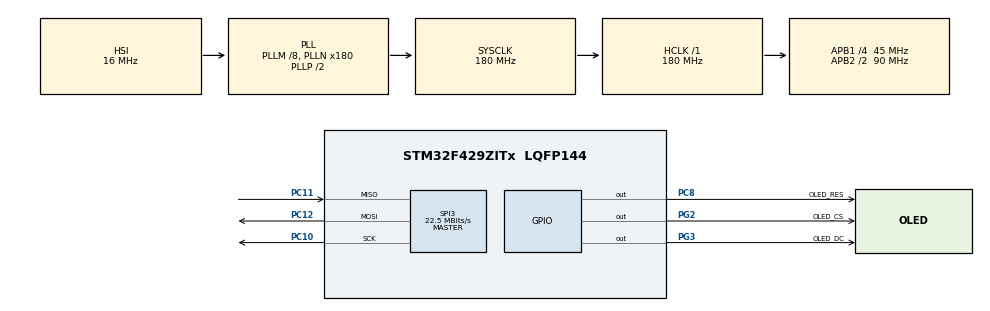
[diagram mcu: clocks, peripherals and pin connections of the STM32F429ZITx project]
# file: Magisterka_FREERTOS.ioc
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FREERTOS.Tasks01=defaultTask,0,128,StartDefaultTask,Default,NULL
Mcu.Family=STM32F4
Mcu.Name=STM32F429ZITx
Mcu.Package=LQFP144
NVIC.PriorityGroup=NVIC_PRIORITYGROUP_4
NVIC.TIM1_UP_TIM10_IRQn=true\:0\:0\:false\:false\:true\:false\:false\:true
NVIC.TimeBase=TIM1_UP_TIM10_IRQn
NVIC.TimeBaseIP=TIM1
PA13.Mode=JTAG_5_pins
PA13.Signal=SYS_JTMS-SWDIO
PA14.Mode=JTAG_5_pins
PA14.Signal=SYS_JTCK-SWCLK
PA15.Mode=JTAG_5_pins
PA15.Signal=SYS_JTDI
PB3.Mode=JTAG_5_pins
PB3.Signal=SYS_JTDO-SWO
PB4.Mode=JTAG_5_pins
PB4.Signal=SYS_JTRST
PC10.Mode=Full_Duplex_Master
PC10.Signal=SPI3_SCK
PC11.Mode=Full_Duplex_Master
PC11.Signal=SPI3_MISO
PC12.Mode=Full_Duplex_Master
PC12.Signal=SPI3_MOSI
PC8.GPIO_Label=OLED_RES
PC8.Signal=GPIO_Output
PG2.GPIO_Label=OLED_CS
PG2.Signal=GPIO_Output
PG3.GPIO_Label=OLED_DC
PG3.Signal=GPIO_Output
ProjectManager.HeapSize=0x200
ProjectManager.StackSize=0x400
ProjectManager.TargetToolchain=TrueSTUDIO
RCC.48MHZClocksFreq_Value=90000000
RCC.AHBFreq_Value=180000000
RCC.APB1CLKDivider=RCC_HCLK_DIV4
RCC.APB1Freq_Value=45000000
RCC.APB1TimFreq_Value=90000000
RCC.APB2CLKDivider=RCC_HCLK_DIV2
RCC.APB2Freq_Value=90000000
RCC.APB2TimFreq_Value=180000000
RCC.CortexFreq_Value=180000000
RCC.HCLKFreq_Value=180000000
RCC.HSE_VALUE=25000000
RCC.HSI_VALUE=16000000
RCC.LSE_VALUE=32768
RCC.PLLM=8
RCC.PLLN=180
RCC.SYSCLKFreq_VALUE=180000000
RCC.SYSCLKSource=RCC_SYSCLKSOURCE_PLLCLK
RCC.VCOOutputFreq_Value=360000000
SPI3.CalculateBaudRate=22.5 MBits/s
SPI3.Direction=SPI_DIRECTION_2LINES
SPI3.Mode=SPI_MODE_MASTER
SPI3.VirtualType=VM_MASTER
VP_FREERTOS_VS_CMSIS_V1.Mode=CMSIS_V1
VP_SYS_VS_tim1.Mode=TIM1
board=custom

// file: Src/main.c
/* USER CODE BEGIN Header */
/**
 ******************************************************************************
 * @file           : main.c
 * @brief          : Main program body
 ******************************************************************************
 * @attention
 *
 * <h2><center>&copy; Copyright (c) 2019 STMicroelectronics.
 * All rights reserved.</center></h2>
 *
 * This software component is licensed by ST under Ultimate Liberty license
 * SLA0044, the "License"; You may not use this file except in compliance with
 * the License. You may obtain a copy of the License at:
 *                             www.st.com/SLA0044
 *
 ******************************************************************************
 */
/* USER CODE END Header */

#include "main.h"
#include "cmsis_os.h"
#include "spi.h"
#include "gpio.h"

void SystemClock_Config(void);
void MX_FREERTOS_Init(void);

int main(void) {

	/* MCU Configuration--------------------------------------------------------*/

	/* Reset of all peripherals, Initializes the Flash interface and the Systick. */
	HAL_Init();

	/* Configure the system clock */
	SystemClock_Config();

	/* Initialize all configured peripherals */
	MX_GPIO_Init();
	MX_SPI3_Init();
	/* USER CODE BEGIN 2 */
	ssd1306_init();
	ssd1306_clear_screen(0xFF);
	ssd1306_clear_screen(0x00);
	ssd1306_display_string(0, 0, (uint8_t *) "System Init OK", 16, 0);
	ssd1306_refresh_gram();
	HAL_Delay(2000);
	ssd1306_clear_screen(0x00);
	ssd1306_display_string(0, 0, (uint8_t *) "Praca Magisterska", 14, 1);
	ssd1306_display_string(10, 16, (uint8_t *) "Kamil Karpiak", 16, 1);
	ssd1306_refresh_gram();
	printf("start\n");
	/* USER CODE END 2 */

	/* Call init function for freertos objects (in freertos.c) */
	MX_FREERTOS_Init();
	/* Start scheduler */
	osKernelStart();

	/* We should never get here as control is now taken by the scheduler */

	/* Infinite loop */
	while (1) {

	}
}

void SystemClock_Config(void) {
	RCC_OscInitTypeDef RCC_OscInitStruct = { 0 };
	RCC_ClkInitTypeDef RCC_ClkInitStruct = { 0 };

	/** Configure the main internal regulator output voltage
	 */
	__HAL_RCC_PWR_CLK_ENABLE()
	;
	__HAL_PWR_VOLTAGESCALING_CONFIG(PWR_REGULATOR_VOLTAGE_SCALE1);
	/** Initializes the CPU, AHB and APB busses clocks
	 */
	RCC_OscInitStruct.OscillatorType = RCC_OSCILLATORTYPE_HSI;
	RCC_OscInitStruct.HSIState = RCC_HSI_ON;
	RCC_OscInitStruct.HSICalibrationValue = RCC_HSICALIBRATION_DEFAULT;
	RCC_OscInitStruct.PLL.PLLState = RCC_PLL_ON;
	RCC_OscInitStruct.PLL.PLLSource = RCC_PLLSOURCE_HSI;
	RCC_OscInitStruct.PLL.PLLM = 8;
	RCC_OscInitStruct.PLL.PLLN = 180;
	RCC_OscInitStruct.PLL.PLLP = RCC_PLLP_DIV2;
	RCC_OscInitStruct.PLL.PLLQ = 4;
	if (HAL_RCC_OscConfig(&RCC_OscInitStruct) != HAL_OK) {
		Error_Handler();
	}
	/** Activate the Over-Drive mode
	 */
	if (HAL_PWREx_EnableOverDrive() != HAL_OK) {
		Error_Handler();
	}
	/** Initializes the CPU, AHB and APB busses clocks
	 */
	RCC_ClkInitStruct.ClockType = RCC_CLOCKTYPE_HCLK | RCC_CLOCKTYPE_SYSCLK
			| RCC_CLOCKTYPE_PCLK1 | RCC_CLOCKTYPE_PCLK2;
	RCC_ClkInitStruct.SYSCLKSource = RCC_SYSCLKSOURCE_PLLCLK;
	RCC_ClkInitStruct.AHBCLKDivider = RCC_SYSCLK_DIV1;
	RCC_ClkInitStruct.APB1CLKDivider = RCC_HCLK_DIV4;
	RCC_ClkInitStruct.APB2CLKDivider = RCC_HCLK_DIV2;

	if (HAL_RCC_ClockConfig(&RCC_ClkInitStruct, FLASH_LATENCY_5) != HAL_OK) {
		Error_Handler();
	}
}

void HAL_TIM_PeriodElapsedCallback(TIM_HandleTypeDef *htim) {
	if (htim->Instance == TIM1) {
		HAL_IncTick();
	}
}

void Error_Handler(void) {
}

/************************ (C) COPYRIGHT STMicroelectronics *****END OF FILE****/

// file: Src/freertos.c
/* USER CODE BEGIN Header */
/**
 ******************************************************************************
 * File Name          : freertos.c
 * Description        : Code for freertos applications
 ******************************************************************************
 * @attention
 *
 * <h2><center>&copy; Copyright (c) 2019 STMicroelectronics.
 * All rights reserved.</center></h2>
 *
 * This software component is licensed by ST under Ultimate Liberty license
 * SLA0044, the "License"; You may not use this file except in compliance with
 * the License. You may obtain a copy of the License at:
 *                             www.st.com/SLA0044
 *
 ******************************************************************************
 */
/* USER CODE END Header */

#include "FreeRTOS.h"
#include "task.h"
#include "main.h"
#include "cmsis_os.h"

osThreadId defaultTaskHandle;

void StartDefaultTask(void const * argument);

void MX_FREERTOS_Init(void); /* (MISRA C 2004 rule 8.1) */

void MX_FREERTOS_Init(void) {

	/* Create the thread(s) */
	/* definition and creation of defaultTask */
	osThreadDef(defaultTask, StartDefaultTask, osPriorityNormal, 0, 128);
	defaultTaskHandle = osThreadCreate(osThread(defaultTask), NULL);

}

void StartDefaultTask(void const * argument) {
	int i = 0;
	/* USER CODE BEGIN StartDefaultTask */
	/* Infinite loop */
	for (;;) {
		if (i == 0) {
			printf("watek-1\n");
			ssd1306_display_string(10, 32, (uint8_t *) "watek-> 1", 16, 1);
			ssd1306_refresh_gram();
			i = 1;
		} else {
			printf("watek-2\n");
			ssd1306_display_string(10, 32, (uint8_t *) "watek-> 2", 16, 1);
			ssd1306_refresh_gram();
			i = 0;
		}

		osDelay(1000);
	}
	/* USER CODE END StartDefaultTask */
}

/************************ (C) COPYRIGHT STMicroelectronics *****END OF FILE****/
